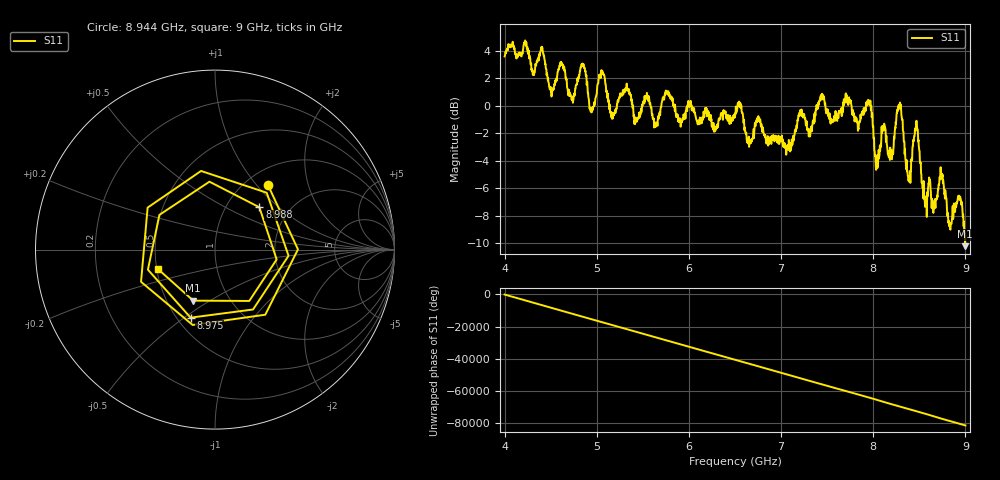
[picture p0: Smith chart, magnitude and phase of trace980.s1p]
! Created with skrf 1.8.0 (http://scikit-rf.org).
# Hz S RI R 50.0
!freq ReS11 ImS11
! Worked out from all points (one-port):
!   1601 points, 4 GHz to 9 GHz, reference 50 ohm
!   lowest |S11| = -10.2 dB at 8.997 GHz (marker M1), VSWR 1.89, Z = 33.8 - j21.3 ohm
!   |S11| at or under -10 dB: 8.99636 GHz to 8.997831 GHz (1.471 MHz wide, 0.0163 % of centre)
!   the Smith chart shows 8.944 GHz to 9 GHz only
!   S11 on the Smith chart (normalised r, x): 8.944 GHz: 1.24, +1.15; 8.975 GHz: 0.58, -0.53; 8.988 GHz: 1.42, +0.76; 9 GHz: 0.51, -0.12
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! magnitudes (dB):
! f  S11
! 4 GHz  3.6
! 4.403 GHz  4.3
! 4.509 GHz  0.7
! 4.625 GHz  3.0
! 4.728 GHz  0.4
! 4.853 GHz  2.9
! 4.944 GHz  -0.5
! 5.05 GHz  2.6
! 5.169 GHz  -0.8
! 5.25 GHz  0.7
! 5.875 GHz  -0.8
! 6.5 GHz  -0.8
! 7.125 GHz  -2.7
! 7.441 GHz  0.4
! 7.75 GHz  0.4
! 7.956 GHz  0.2
! 8.044 GHz  -4.5
! 8.112 GHz  -1.8
! 8.194 GHz  -3.6
! 8.288 GHz  -0.1
! 8.375 GHz  -5.1
! 8.466 GHz  -1.7
! 8.559 GHz  -6.9
! 8.944 GHz  -6.6
! 8.975 GHz  -7.9
! 8.988 GHz  -9.3
! 8.997 GHz  -10.2
! 9 GHz  -9.5
